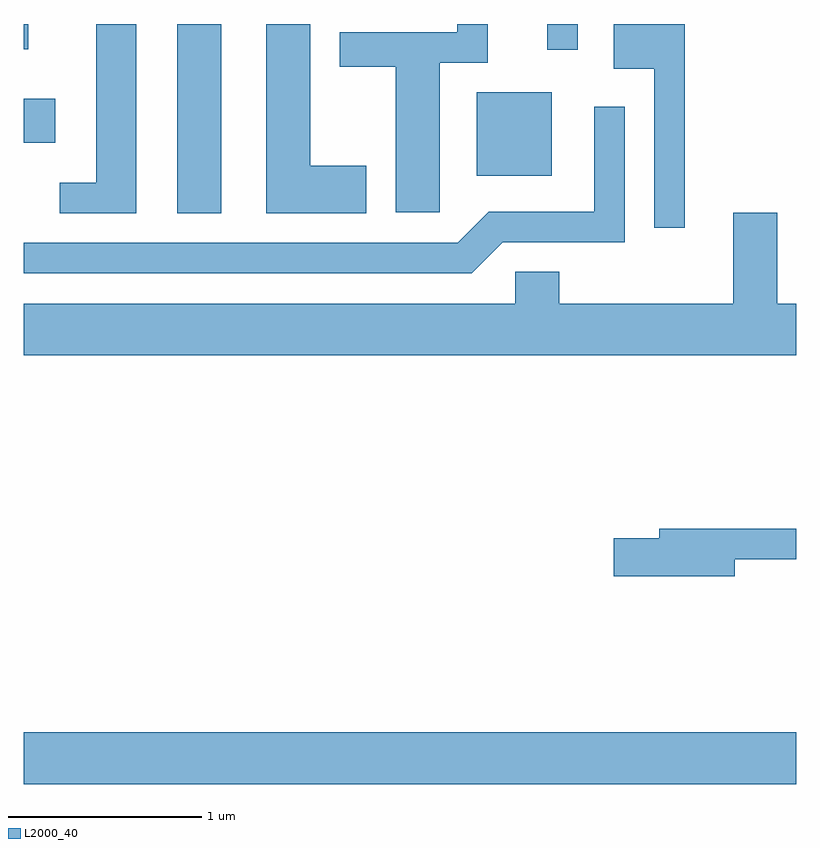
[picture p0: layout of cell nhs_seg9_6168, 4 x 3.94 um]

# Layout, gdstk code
import gdstk
lib = gdstk.Library(unit=1e-6, precision=1e-09)
def R(c, l, rs):  # rectangles x0, y0, x1, y1
    for r in rs: c.add(gdstk.rectangle(r[:2], r[2:], *l))
def P(c, l, *ps):  # polygons
    for p in ps: c.add(gdstk.Polygon(p, *l))
L2000_40 = (2000, 40)

nhs_seg9_6168 = lib.new_cell('nhs_seg9_6168')
R(nhs_seg9_6168, L2000_40, [(367.611,1978.496,371.611,1978.764), (368.406,1981.451,368.634,1982.432), (369.956,1981.646,370.344,1982.079), (367.611,1981.816,367.774,1982.044), (370.321,1982.298,370.479,1982.432), (367.611,1982.301,367.633,1982.432)])
P(nhs_seg9_6168, L2000_40, [(369.764,1982.231),(370.014,1982.231),(370.014,1982.432),(369.856,1982.432),(369.856,1982.389),(369.246,1982.389),(369.246,1982.211),(369.536,1982.211),(369.536,1981.456),(369.764,1981.456)],
  [(371.034,1982.432),(370.666,1982.432),(370.666,1982.201),(370.876,1982.201),(370.876,1981.378),(371.034,1981.378)],
  [(368.194,1982.432),(367.986,1982.432),(367.986,1981.609),(367.798,1981.609),(367.798,1981.451),(368.194,1981.451)],
  [(369.384,1981.699),(369.094,1981.699),(369.094,1982.432),(368.866,1982.432),(368.866,1981.451),(369.384,1981.451)],
  [(370.092,1981.301),(370.724,1981.301),(370.724,1982.003),(370.566,1982.003),(370.566,1981.459),(370.019,1981.459),(369.859,1981.299),(367.611,1981.299),(367.611,1981.141),(369.932,1981.141)],
  [(371.611,1980.984),(371.514,1980.984),(371.514,1981.454),(371.286,1981.454),(371.286,1980.984),(370.384,1980.984),(370.384,1981.149),(370.156,1981.149),(370.156,1980.984),(367.611,1980.984),(367.611,1980.716),(371.611,1980.716)],
  [(371.294,1979.661),(371.611,1979.661),(371.611,1979.819),(370.901,1979.819),(370.901,1979.769),(370.666,1979.769),(370.666,1979.571),(371.294,1979.571)])

lib.write_gds('nhs_seg9_6168.gds')
